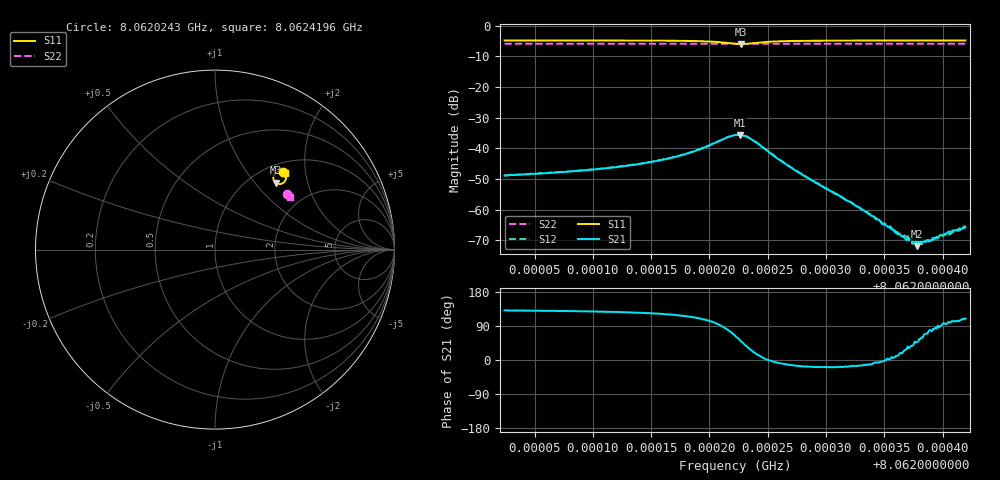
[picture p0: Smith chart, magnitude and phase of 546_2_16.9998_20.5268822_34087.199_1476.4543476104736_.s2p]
#  HZ  S  RI  R  50.00
! Rohde & Schwarz Vector Network Analyzer
! Rohde-Schwarz,ZNB20-2Port,1311601062101988,3.16
! Created: UTC 3/20/2024, 11:16:36 PM
! freq[Hz]  re:S11  im:S11  re:S21  im:S21  re:S12  im:S12  re:S22  im:S22
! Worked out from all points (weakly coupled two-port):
!   401 points, 8.0620243 GHz to 8.0624196 GHz, reference 50 ohm
!   highest |S21| = -35.64 dB at 8.0622259 GHz (marker M1); lowest = -72.0 dB at 8.0623781 GHz (marker M2)
!   lowest |S11| = -6.0 dB at 8.0622269 GHz (marker M3), VSWR 3.03, Z = 64.6 + j64.6 ohm
!   |S11| at or under -10 dB: nowhere
!   |S22| runs from -5.9 to -5.9 dB; largest |S21 - S12| = 0.0012
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8.06202435e9  0.3785 0.4341  -0.00236 0.00269  -0.00221 0.00291  0.4037 0.3101
8.06209056e9  0.3843 0.4282  -0.0027 0.00339  -0.00252 0.00357  0.4061 0.3065
8.06212811e9  0.3884 0.4232  -0.003 0.00418  -0.00278 0.00436  0.4076 0.3045
8.06215677e9  0.3919 0.4168  -0.00335 0.00533  -0.00305 0.00562  0.4086 0.3028
8.06218444e9  0.3955 0.4042  -0.00345 0.00788  -0.00304 0.00813  0.4094 0.3009
8.06220717e9  0.3885 0.3798  -0.00111 0.0128  -0.000292 0.0129  0.4095 0.2988
8.06222199e9  0.3538 0.3658  0.00718 0.0147  0.00791 0.0144  0.4083 0.298
8.06222594e9  0.3406 0.3711  0.00989 0.0132  0.0107 0.0127  0.4078 0.2982
8.06222693e9  0.3376 0.3732  0.0106 0.0126  0.0114 0.0121  0.4078 0.2983
8.06223879e9  0.3258 0.4096  0.0123 0.00432  0.0126 0.00356  0.4082 0.2995
8.06226251e9  0.3525 0.4354  0.00593 -0.00103  0.00594 -0.00143  0.4106 0.2991
8.0622882e9  0.3681 0.4355  0.0028 -0.000921  0.00276 -0.00111  0.4122 0.2977
8.0623218e9  0.3773 0.4323  0.00127 -0.000362  0.00125 -0.000416  0.4136 0.2959
8.06235441e9  0.3824 0.4295  0.000524 9.37e-06  0.000531 7.86e-06  0.4148 0.2941
8.06236429e9  0.3838 0.4287  0.000355 0.000121  0.000353 0.000103  0.4152 0.2935
8.06237318e9  0.3847 0.428  0.000253 0.00019  0.00028 0.000171  0.4156 0.2931
8.06237813e9  0.3853 0.4276  0.00017 0.000186  0.000181 0.000227  0.4157 0.2927
8.0623801e9  0.3855 0.4274  0.000164 0.000238  0.000176 0.000249  0.4157 0.2926
8.06238998e9  0.3866 0.4268  6.57e-05 0.000298  7.54e-05 0.000305  0.4162 0.2921
8.06239789e9  0.3872 0.4262  4.47e-06 0.000381  1.04e-05 0.000376  0.4164 0.2917
8.0624058e9  0.388 0.4256  -6.94e-05 0.000433  -7.81e-05 0.000389  0.4167 0.2915
8.06241963e9  0.3893 0.4247  -0.000174 0.000487  -0.000147 0.000522  0.4172 0.2906
